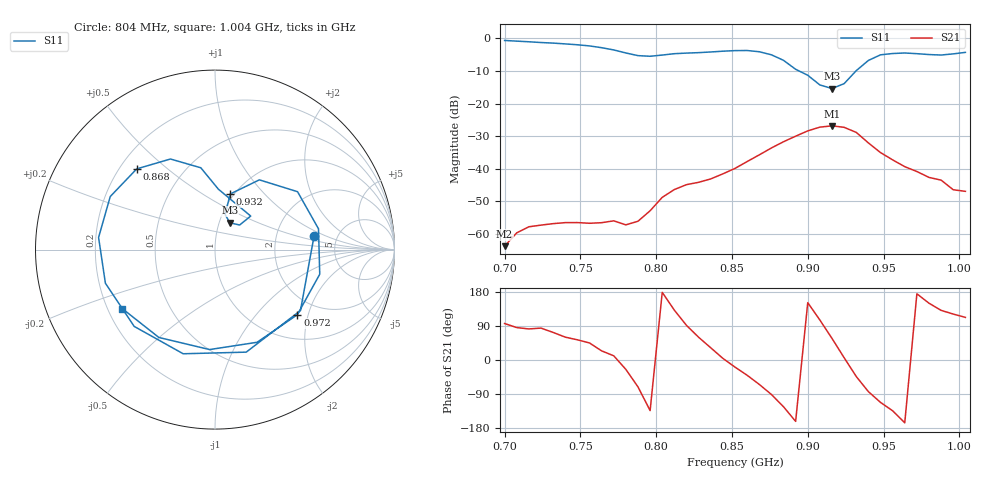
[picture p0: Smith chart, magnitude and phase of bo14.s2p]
# Hz S RI R 50
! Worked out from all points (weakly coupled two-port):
!   39 points, 700 MHz to 1.004 GHz, reference 50 ohm
!   highest |S21| = -26.80 dB at 916 MHz (marker M1); lowest = -63.7 dB at 700 MHz (marker M2)
!   lowest |S11| = -15.3 dB at 916 MHz (marker M3), VSWR 1.41, Z = 56.3 + j17.3 ohm
!   |S11| at or under -10 dB: 894.4 MHz to 931.7 MHz (37.3 MHz wide, 4.08 % of centre)
!   S12 and S22 are empty: the file has one direction only
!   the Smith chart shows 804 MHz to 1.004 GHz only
!   S11 on the Smith chart (normalised r, x): 804 MHz: 3.34, +0.74; 868 MHz: 0.27, +0.40; 932 MHz: 0.96, +0.66; 972 MHz: 1.55, -1.71; 1.004 GHz: 0.26, -0.27
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7e8  0.7662 0.5326  -7.12e-05 0.000649  0 0  0 0
7.24e8  0.8269 -0.2622  0.000137 0.00137  0 0  0 0
7.4e8  0.4414 -0.6986  0.000741 0.0013  0 0  0 0
7.56e8  -0.2019 -0.7425  0.00104 0.00104  0 0  0 0
7.72e8  -0.6466 -0.1663  0.00157 0.000307  0 0  0 0
7.8e8  -0.5458 0.2483  0.00126 -0.000581  0 0  0 0
7.88e8  -0.1743 0.5174  0.000514 -0.00149  0 0  0 0
7.96e8  0.2892 0.4486  -0.00157 -0.00166  0 0  0 0
8.04e8  0.552 0.0759  -0.00366 9.66e-05  0 0  0 0
8.2e8  0.1739 -0.5713  -0.000131 0.00573  0 0  0 0
8.28e8  -0.1772 -0.5803  0.00311 0.00539  0 0  0 0
8.52e8  -0.6486 0.0677  0.00963 -0.00327  0 0  0 0
8.68e8  -0.4361 0.4497  0.0071 -0.0148  0 0  0 0
9e8  0.199 0.187  -0.0336 0.0184  0 0  0 0
9.08e8  0.1372 0.137  -0.0116 0.0422  0 0  0 0
9.16e8  0.0832 0.1493  0.025 0.0383  0 0  0 0
9.32e8  0.0847 0.3099  0.0263 -0.025  0 0  0 0
9.4e8  0.2472 0.3886  0.00285 -0.0249  0 0  0 0
9.56e8  0.5766 0.1159  -0.00955 -0.00989  0 0  0 0
9.72e8  0.4587 -0.3629  -0.00907 0.000836  0 0  0 0
9.88e8  -0.0302 -0.5569  -0.00441 0.00508  0 0  0 0
1.004e9  -0.5173 -0.3283  -0.00173 0.00418  0 0  0 0
